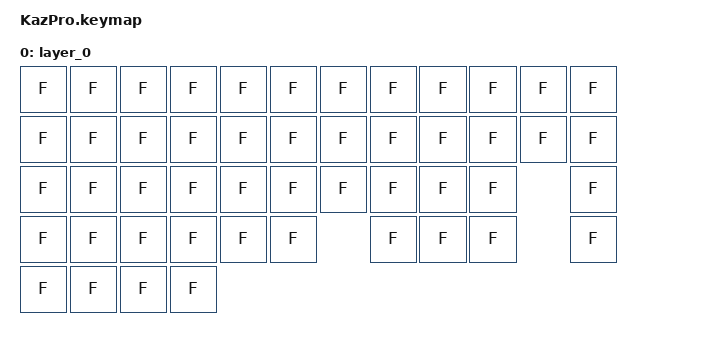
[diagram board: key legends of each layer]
#include <behaviors.dtsi>
#include <dt-bindings/zmk/keys.h>
#include <dt-bindings/zmk/bt.h>

#define layer_0 0

/ {
    behaviors {
        hm: homerow_mods {
            compatible = "zmk,behavior-hold-tap";
            label = "homerow mods";
            #binding-cells = <2>;
            tapping-term-ms = <500>;
            flavor = "tap-preferred";
            bindings = <&kp>, <&kp>;
        };
    };
};

/ {
    keymap {
        compatible = "zmk,keymap";

        layer_0 {
            bindings = <
                    &kp F     &kp F     &kp F    &kp F    &kp F    &kp F    &kp F     &kp F     &kp F    &kp F    &kp F    &kp F
                    &kp F     &kp F     &kp F    &kp F    &kp F    &kp F    &kp F     &kp F     &kp F    &kp F    &kp F    &kp F
                    &kp F     &kp F     &kp F    &kp F    &kp F    &kp F    &kp F     &kp F     &kp F    &kp F             &kp F
                    &kp F     &kp F     &kp F    &kp F    &kp F    &kp F              &kp F     &kp F    &kp F             &kp F
                    &kp F     &kp F     &kp F    &kp F    

            >;
        };
    };
};
